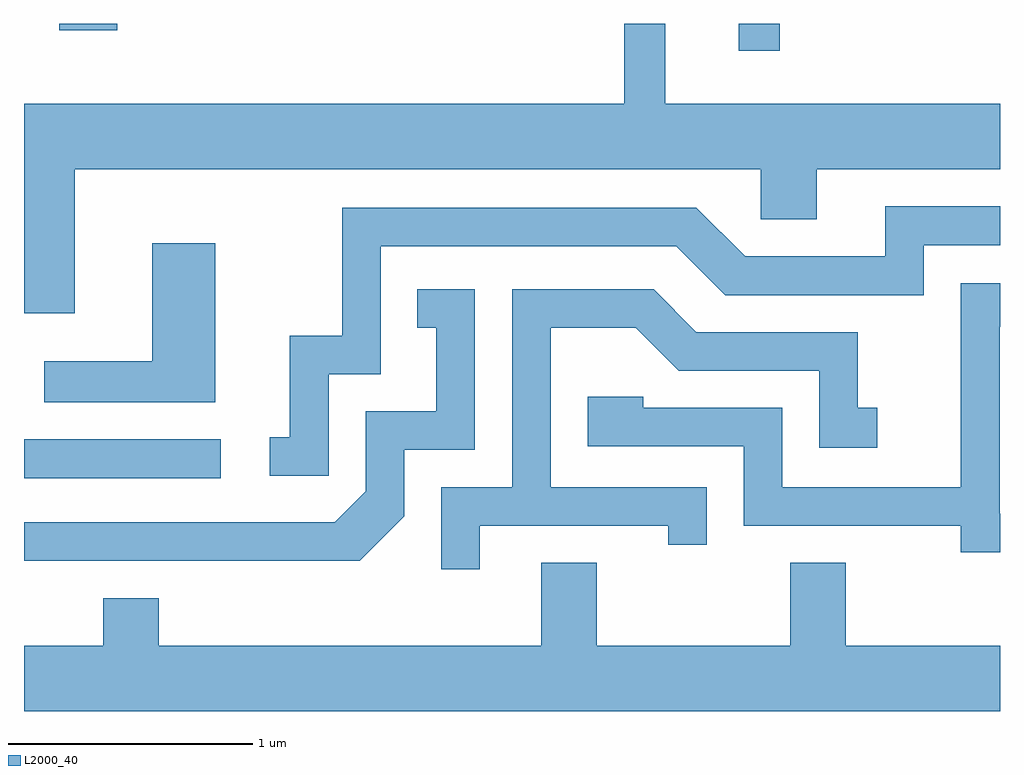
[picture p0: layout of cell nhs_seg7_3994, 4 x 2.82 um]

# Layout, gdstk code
import gdstk
lib = gdstk.Library(unit=1e-6, precision=1e-09)
def R(c, l, rs):  # rectangles x0, y0, x1, y1
    for r in rs: c.add(gdstk.rectangle(r[:2], r[2:], *l))
def P(c, l, *ps):  # polygons
    for p in ps: c.add(gdstk.Polygon(p, *l))
L2000_40 = (2000, 40)

nhs_seg7_3994 = lib.new_cell('nhs_seg7_3994')
R(nhs_seg7_3994, L2000_40, [(307.611,1706.391,308.418,1706.549), (310.541,1708.143,310.709,1708.252), (307.756,1708.226,307.994,1708.252)])
P(nhs_seg7_3994, L2000_40, [(307.819,1707.656),(310.631,1707.656),(310.631,1707.451),(310.859,1707.451),(310.859,1707.656),(311.611,1707.656),(311.611,1707.924),(310.239,1707.924),(310.239,1708.252),(310.071,1708.252),(310.071,1707.924),(307.611,1707.924),(307.611,1707.066),(307.819,1707.066)],
  [(308.859,1706.816),(309.074,1706.816),(309.074,1707.341),(310.284,1707.341),(310.484,1707.141),(311.299,1707.141),(311.299,1707.346),(311.611,1707.346),(311.611,1707.504),(311.141,1707.504),(311.141,1707.299),(310.567,1707.299),(310.367,1707.499),(308.916,1707.499),(308.916,1706.974),(308.701,1706.974),(308.701,1706.559),(308.618,1706.559),(308.618,1706.401),(308.859,1706.401)],
  [(308.394,1707.354),(308.136,1707.354),(308.136,1706.869),(307.693,1706.869),(307.693,1706.701),(308.394,1706.701)],
  [(311.611,1706.244),(311.609,1706.244),(311.609,1707.011),(311.611,1707.011),(311.611,1707.189),(311.451,1707.189),(311.451,1706.354),(310.719,1706.354),(310.719,1706.679),(310.149,1706.679),(310.149,1706.724),(309.921,1706.724),(309.921,1706.521),(310.561,1706.521),(310.561,1706.196),(311.451,1706.196),(311.451,1706.086),(311.611,1706.086)],
  [(309.169,1706.234),(309.169,1706.506),(309.459,1706.506),(309.459,1707.164),(309.223,1707.164),(309.223,1707.006),(309.301,1707.006),(309.301,1706.664),(309.011,1706.664),(309.011,1706.337),(308.884,1706.209),(307.611,1706.209),(307.611,1706.051),(308.987,1706.051)],
  [(309.479,1706.196),(310.251,1706.196),(310.251,1706.118),(310.409,1706.118),(310.409,1706.354),(309.769,1706.354),(309.769,1707.006),(310.119,1707.006),(310.294,1706.831),(310.871,1706.831),(310.871,1706.516),(311.108,1706.516),(311.108,1706.679),(311.029,1706.679),(311.029,1706.989),(310.367,1706.989),(310.192,1707.164),(309.611,1707.164),(309.611,1706.354),(309.321,1706.354),(309.321,1706.018),(309.479,1706.018)],
  [(311.611,1705.704),(310.979,1705.704),(310.979,1706.044),(310.751,1706.044),(310.751,1705.704),(309.959,1705.704),(309.959,1706.044),(309.731,1706.044),(309.731,1705.704),(308.164,1705.704),(308.164,1705.899),(307.936,1705.899),(307.936,1705.704),(307.611,1705.704),(307.611,1705.436),(311.611,1705.436)])

lib.write_gds('nhs_seg7_3994.gds')
